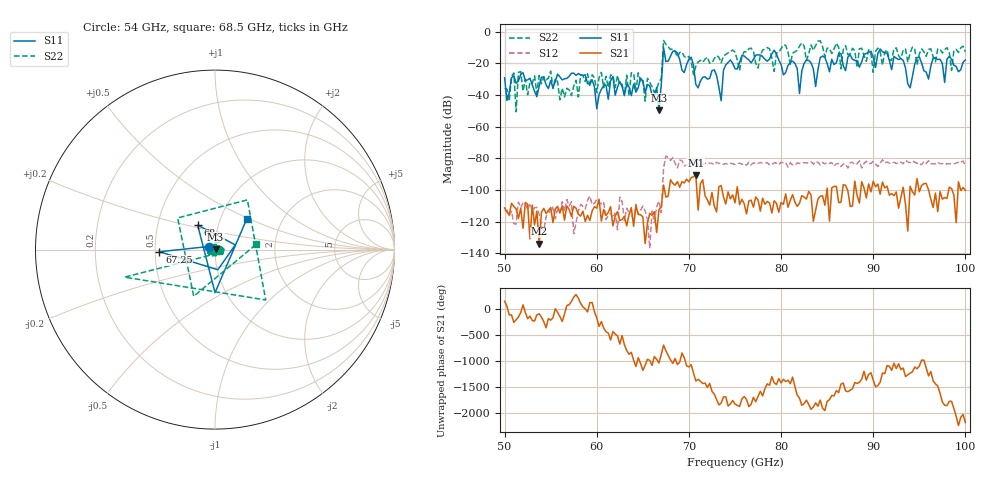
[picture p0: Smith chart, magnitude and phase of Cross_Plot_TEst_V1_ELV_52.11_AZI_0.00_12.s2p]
! 11/25/2026 1:21:59 PM
! C:\ANRITSUVNA\TEMP\TEMP.S2P
! CHANNEL.1
! TR.MEASUREMENT
! RAW.DATA
# HZ S RI R 50.0
! FREQ.HZ  S11RE  S11IM  S21RE  S21IM  S12RE  S12IM  S22RE  S22IM
!; PortSelection: Port_12
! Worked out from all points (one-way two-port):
!   201 points, 50 GHz to 100 GHz, reference 50 ohm
!   highest |S21| = -90.71 dB at 70.75 GHz (marker M1); lowest = -134.0 dB at 53.75 GHz (marker M2)
!   lowest |S11| = -49.7 dB at 66.75 GHz (marker M3), VSWR 1.01, Z = 50.3 + j0.071 ohm
!   |S11| at or under -10 dB: start of sweep to end of sweep
!   |S22| runs from -50.6 to -5.6 dB; largest |S21 - S12| = 0.00012
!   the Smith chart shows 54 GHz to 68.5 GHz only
!   S11 on the Smith chart (normalised r, x): 54 GHz: 0.93, +0.03; 67.25 GHz: 0.53, -0.01; 68 GHz: 0.80, +0.22; 68.5 GHz: 1.33, +0.49
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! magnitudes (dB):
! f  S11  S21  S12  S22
! 50 GHz  -29.1  -111.4  -113.5  -35.8
! 51 GHz  -27.9  -110.5  -121.4  -26.2
! 51.25 GHz  -32.6  -112.0  -121.7  -50.6
! 51.5 GHz  -31.2  -118.0  -107.7  -25.7
! 53.75 GHz  -34.6  -134.0  -115.4  -27.7
! 54 GHz  -28.7  -114.1  -122.8  -32.9
! 58.5 GHz  -27.6  -113.4  -110.5  -27.7
! 60 GHz  -48.8  -111.5  -105.8  -38.6
! 61.75 GHz  -28.4  -122.8  -117.7  -27.7
! 66.75 GHz  -49.7  -112.4  -107.1  -31.9
! 67.25 GHz  -10.2  -96.9  -86.0  -5.6
! 68 GHz  -15.5  -93.6  -81.6  -11.3
! 68.5 GHz  -12.1  -97.1  -83.4  -12.7
! 70.75 GHz  -33.4  -90.7  -81.6  -21.8
! 72.75 GHz  -24.1  -110.0  -84.1  -17.0
! 73.5 GHz  -43.7  -97.3  -83.1  -19.7
! 75 GHz  -23.5  -108.2  -83.9  -13.0
! 83.5 GHz  -23.4  -119.8  -83.8  -11.8
! 91.75 GHz  -18.2  -103.3  -83.1  -17.6
! 94 GHz  -35.5  -97.7  -82.8  -13.7
! 94.75 GHz  -16.4  -92.8  -83.2  -20.9
! 100 GHz  -17.9  -100.3  -84.7  -12.9
